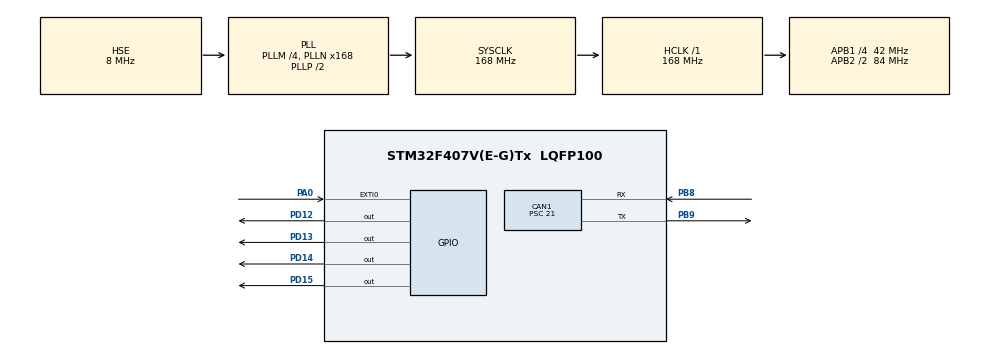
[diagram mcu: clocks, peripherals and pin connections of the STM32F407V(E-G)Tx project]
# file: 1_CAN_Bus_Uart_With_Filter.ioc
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CAN1.BS1=CAN_BS1_10TQ
CAN1.BS2=CAN_BS2_5TQ
CAN1.CalculateBaudRate=125000
CAN1.CalculateTimeBit=8000
CAN1.CalculateTimeQuantum=500.0
CAN1.Prescaler=21
Mcu.Family=STM32F4
Mcu.Name=STM32F407V(E-G)Tx
Mcu.Package=LQFP100
NVIC.CAN1_RX0_IRQn=true\:0\:1\:false\:false\:true\:true\:true\:true
NVIC.EXTI0_IRQn=true\:0\:0\:false\:false\:true\:true\:true\:true
NVIC.PriorityGroup=NVIC_PRIORITYGROUP_0
PA0-WKUP.Signal=GPXTI0
PB8.Mode=CAN_Activate
PB8.Signal=CAN1_RX
PB9.Mode=CAN_Activate
PB9.Signal=CAN1_TX
PD12.Signal=GPIO_Output
PD13.Signal=GPIO_Output
PD14.Signal=GPIO_Output
PD15.Signal=GPIO_Output
PH0-OSC_IN.Mode=HSE-External-Oscillator
PH0-OSC_IN.Signal=RCC_OSC_IN
PH1-OSC_OUT.Mode=HSE-External-Oscillator
PH1-OSC_OUT.Signal=RCC_OSC_OUT
ProjectManager.HeapSize=0x200
ProjectManager.StackSize=0x400
ProjectManager.TargetToolchain=STM32CubeIDE
RCC.48MHZClocksFreq_Value=84000000
RCC.AHBFreq_Value=168000000
RCC.APB1CLKDivider=RCC_HCLK_DIV4
RCC.APB1Freq_Value=42000000
RCC.APB1TimFreq_Value=84000000
RCC.APB2CLKDivider=RCC_HCLK_DIV2
RCC.APB2Freq_Value=84000000
RCC.APB2TimFreq_Value=168000000
RCC.CortexFreq_Value=168000000
RCC.HCLKFreq_Value=168000000
RCC.HSE_VALUE=8000000
RCC.HSI_VALUE=16000000
RCC.LSE_VALUE=32768
RCC.PLLM=4
RCC.PLLN=168
RCC.PLLSourceVirtual=RCC_PLLSOURCE_HSE
RCC.SYSCLKFreq_VALUE=168000000
RCC.SYSCLKSource=RCC_SYSCLKSOURCE_PLLCLK
RCC.VCOOutputFreq_Value=336000000
board=custom

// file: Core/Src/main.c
/* USER CODE BEGIN Header */
/**
  ******************************************************************************
  * @file           : main.c
  * @brief          : Main program body
  ******************************************************************************
  * @attention
  *
  * Copyright (c) 2022 STMicroelectronics.
  * All rights reserved.
  *
  * This software is licensed under terms that can be found in the LICENSE file
  * in the root directory of this software component.
  * If no LICENSE file comes with this software, it is provided AS-IS.
  *
  ******************************************************************************
  */
/* USER CODE END Header */
#include "main.h"

/* USER CODE BEGIN PD */
#define CAN_IDE_32  0b00000100
/* USER CODE END PD */

 CAN_HandleTypeDef hcan1;

/* USER CODE BEGIN PV */
CAN_FilterTypeDef sFilterConfig;
CAN_TxHeaderTypeDef pTxHeader;
CAN_TxHeaderTypeDef pRxHeader;
uint8_t rcount=0;
uint8_t tcount=0;
uint32_t pTxMailbox;
/* USER CODE END PV */

void SystemClock_Config(void);
static void MX_GPIO_Init(void);
static void MX_CAN1_Init(void);

int main(void)
{

  /* MCU Configuration--------------------------------------------------------*/

  /* Reset of all peripherals, Initializes the Flash interface and the Systick. */
  HAL_Init();

  /* Configure the system clock */
  SystemClock_Config();

  /* Initialize all configured peripherals */
  MX_GPIO_Init();
  MX_CAN1_Init();
  /* USER CODE BEGIN 2 */

  HAL_CAN_Start(&hcan1);
  HAL_CAN_ActivateNotification(&hcan1, CAN_IT_RX_FIFO0_MSG_PENDING);

  pTxHeader.DLC=1;
  pTxHeader.IDE=CAN_ID_STD;
  pTxHeader.RTR=CAN_RTR_DATA;
  pTxHeader.StdId=0x0155;

  sFilterConfig.FilterBank=0;//0-13 FARKLI FILTER DEGER AZALDIKCA ONCELIK ARTAR
  sFilterConfig.FilterActivation=CAN_FILTER_ENABLE;
  sFilterConfig.FilterFIFOAssignment=CAN_FILTER_FIFO0;
  sFilterConfig.FilterIdHigh=0x0150 << 5; // EXTENTED ID OLSAYDI >>13 //
  sFilterConfig.FilterIdLow=0x0070;   // 0XFF0  | CAN_IDE_32 ; EXTENTED DA AŞAĞIYIDA FİLTERLER
  sFilterConfig.FilterMaskIdHigh=0xFFF0; // 0x0150 << 5; 0150-015F // EXTENTED ID OLSAYDI >>13 //
  sFilterConfig.FilterMaskIdLow=0x0FF0 ; // 0070-007F 			// 0XFF0  | CAN_IDE_32 ; EXTENTED DA AŞAĞIYIDA FİLTERLER
  sFilterConfig.FilterMode=CAN_FILTERMODE_IDMASK; // IDLIST SADECE MASKTAKI VE FILTERDAKI ID LER 4*14=56 ID FILTRELENIR
  sFilterConfig.FilterScale=CAN_FILTERSCALE_32BIT;

  HAL_CAN_ConfigFilter(&hcan1, &sFilterConfig);

  sFilterConfig.FilterBank=1;//0-13 FARKLI FILTER DEGER AZALDIKCA ONCELIK ARTAR
  sFilterConfig.FilterIdHigh=0x0150 << 5;

  HAL_CAN_ConfigFilter(&hcan1, &sFilterConfig);

  /* USER CODE END 2 */

  /* Infinite loop */
  while (1)
  {

  }
}

void SystemClock_Config(void)
{
  RCC_OscInitTypeDef RCC_OscInitStruct = {0};
  RCC_ClkInitTypeDef RCC_ClkInitStruct = {0};

  /** Configure the main internal regulator output voltage
  */
  __HAL_RCC_PWR_CLK_ENABLE();
  __HAL_PWR_VOLTAGESCALING_CONFIG(PWR_REGULATOR_VOLTAGE_SCALE1);

  /** Initializes the RCC Oscillators according to the specified parameters
  * in the RCC_OscInitTypeDef structure.
  */
  RCC_OscInitStruct.OscillatorType = RCC_OSCILLATORTYPE_HSE;
  RCC_OscInitStruct.HSEState = RCC_HSE_ON;
  RCC_OscInitStruct.PLL.PLLState = RCC_PLL_ON;
  RCC_OscInitStruct.PLL.PLLSource = RCC_PLLSOURCE_HSE;
  RCC_OscInitStruct.PLL.PLLM = 4;
  RCC_OscInitStruct.PLL.PLLN = 168;
  RCC_OscInitStruct.PLL.PLLP = RCC_PLLP_DIV2;
  RCC_OscInitStruct.PLL.PLLQ = 4;
  if (HAL_RCC_OscConfig(&RCC_OscInitStruct) != HAL_OK)
  {
    Error_Handler();
  }

  /** Initializes the CPU, AHB and APB buses clocks
  */
  RCC_ClkInitStruct.ClockType = RCC_CLOCKTYPE_HCLK|RCC_CLOCKTYPE_SYSCLK
                              |RCC_CLOCKTYPE_PCLK1|RCC_CLOCKTYPE_PCLK2;
  RCC_ClkInitStruct.SYSCLKSource = RCC_SYSCLKSOURCE_PLLCLK;
  RCC_ClkInitStruct.AHBCLKDivider = RCC_SYSCLK_DIV1;
  RCC_ClkInitStruct.APB1CLKDivider = RCC_HCLK_DIV4;
  RCC_ClkInitStruct.APB2CLKDivider = RCC_HCLK_DIV2;

  if (HAL_RCC_ClockConfig(&RCC_ClkInitStruct, FLASH_LATENCY_5) != HAL_OK)
  {
    Error_Handler();
  }
}

static void MX_CAN1_Init(void)
{

  hcan1.Instance = CAN1;
  hcan1.Init.Prescaler = 21;
  hcan1.Init.Mode = CAN_MODE_NORMAL;
  hcan1.Init.SyncJumpWidth = CAN_SJW_1TQ;
  hcan1.Init.TimeSeg1 = CAN_BS1_10TQ;
  hcan1.Init.TimeSeg2 = CAN_BS2_5TQ;
  hcan1.Init.TimeTriggeredMode = DISABLE;
  hcan1.Init.AutoBusOff = DISABLE;
  hcan1.Init.AutoWakeUp = DISABLE;
  hcan1.Init.AutoRetransmission = DISABLE;
  hcan1.Init.ReceiveFifoLocked = DISABLE;
  hcan1.Init.TransmitFifoPriority = DISABLE;
  if (HAL_CAN_Init(&hcan1) != HAL_OK)
  {
    Error_Handler();
  }

}

static void MX_GPIO_Init(void)
{
  GPIO_InitTypeDef GPIO_InitStruct = {0};

  /* GPIO Ports Clock Enable */
  __HAL_RCC_GPIOH_CLK_ENABLE();
  __HAL_RCC_GPIOA_CLK_ENABLE();
  __HAL_RCC_GPIOD_CLK_ENABLE();
  __HAL_RCC_GPIOB_CLK_ENABLE();

  /*Configure GPIO pin Output Level */
  HAL_GPIO_WritePin(GPIOD, GPIO_PIN_12|GPIO_PIN_13|GPIO_PIN_14|GPIO_PIN_15, GPIO_PIN_RESET);

  /*Configure GPIO pin : PA0 */
  GPIO_InitStruct.Pin = GPIO_PIN_0;
  GPIO_InitStruct.Mode = GPIO_MODE_IT_RISING;
  GPIO_InitStruct.Pull = GPIO_NOPULL;
  HAL_GPIO_Init(GPIOA, &GPIO_InitStruct);

  /*Configure GPIO pins : PD12 PD13 PD14 PD15 */
  GPIO_InitStruct.Pin = GPIO_PIN_12|GPIO_PIN_13|GPIO_PIN_14|GPIO_PIN_15;
  GPIO_InitStruct.Mode = GPIO_MODE_OUTPUT_PP;
  GPIO_InitStruct.Pull = GPIO_NOPULL;
  GPIO_InitStruct.Speed = GPIO_SPEED_FREQ_LOW;
  HAL_GPIO_Init(GPIOD, &GPIO_InitStruct);

  /* EXTI interrupt init*/
  HAL_NVIC_SetPriority(EXTI0_IRQn, 0, 0);
  HAL_NVIC_EnableIRQ(EXTI0_IRQn);

}

void Error_Handler(void)
{
  __disable_irq();
  while (1)
  {
  }
}
